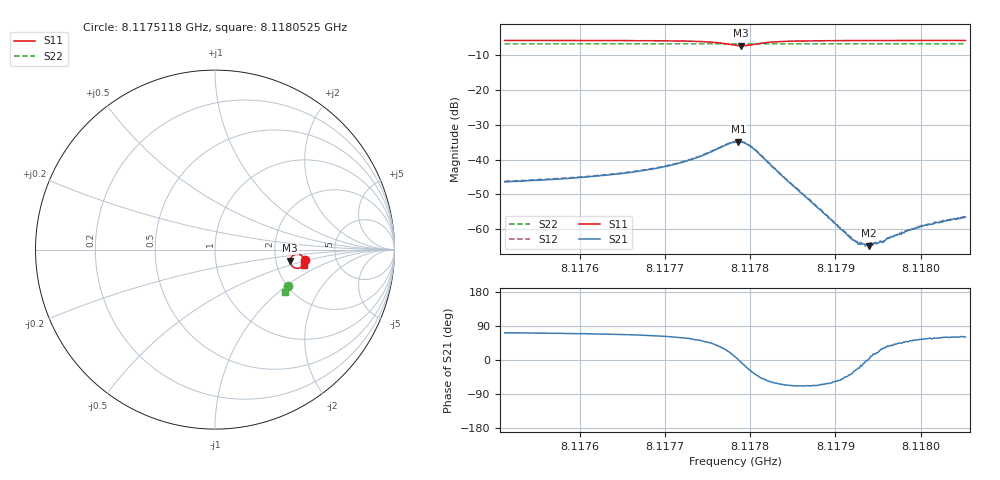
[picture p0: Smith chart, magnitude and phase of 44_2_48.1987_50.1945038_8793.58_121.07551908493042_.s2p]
#  HZ  S  RI  R  50.00
! Rohde & Schwarz Vector Network Analyzer
! Rohde-Schwarz,ZNB20-2Port,1311601062101988,3.16
! Created: UTC 3/20/2024, 11:37:59 AM
! freq[Hz]  re:S11  im:S11  re:S21  im:S21  re:S12  im:S12  re:S22  im:S22
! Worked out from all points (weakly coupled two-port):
!   401 points, 8.1175118 GHz to 8.1180525 GHz, reference 50 ohm
!   highest |S21| = -34.88 dB at 8.1177862 GHz (marker M1); lowest = -64.6 dB at 8.1179389 GHz (marker M2)
!   lowest |S11| = -7.5 dB at 8.1177889 GHz (marker M3), VSWR 2.47, Z = 120 - j18.3 ohm
!   |S11| at or under -10 dB: nowhere
!   |S22| runs from -6.9 to -6.9 dB; largest |S21 - S12| = 0.00054
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8.11751176e9  0.5015 -0.059  0.0015 0.00454  0.00158 0.00463  0.4041 -0.2028
8.11760233e9  0.4993 -0.0692  0.00192 0.00521  0.00201 0.00529  0.4016 -0.2086
8.11764288e9  0.4975 -0.0751  0.00233 0.00572  0.00247 0.00582  0.4002 -0.2114
8.1176929e9  0.4928 -0.0845  0.00343 0.0068  0.00357 0.00692  0.3984 -0.2146
8.11773886e9  0.479 -0.0985  0.00661 0.00876  0.00667 0.00859  0.3962 -0.2179
8.11776589e9  0.4505 -0.1035  0.0126 0.00826  0.0129 0.0084  0.3942 -0.2193
8.11778211e9  0.4226 -0.0821  0.0175 0.00271  0.018 0.00259  0.3928 -0.2189
8.11778617e9  0.4191 -0.0707  0.018 5.18e-05  0.0183 2.91e-05  0.3926 -0.2187
8.11778887e9  0.4187 -0.0625  0.0177 -0.00164  0.018 -0.00177  0.3927 -0.2186
8.11779563e9  0.4251 -0.0429  0.0157 -0.00544  0.016 -0.00587  0.3931 -0.2182
8.11780509e9  0.4448 -0.0277  0.0111 -0.00831  0.0112 -0.00852  0.3936 -0.2182
8.11783078e9  0.4826 -0.0338  0.0034 -0.0061  0.00331 -0.00623  0.3944 -0.2206
8.11787268e9  0.4964 -0.0534  0.000931 -0.00222  0.000942 -0.00228  0.3937 -0.224
8.1179227e9  0.4987 -0.0659  0.000603 -0.000332  0.000602 -0.000325  0.3919 -0.2274
8.11792675e9  0.4987 -0.0665  0.00057 -0.000221  0.000634 -0.000268  0.3916 -0.2277
8.11793486e9  0.4988 -0.068  0.000596 -5.17e-05  0.000574 -5.47e-05  0.3917 -0.2282
8.11793892e9  0.4989 -0.0686  0.000587 2.44e-05  0.00066 2.94e-05  0.3914 -0.2285
8.11794703e9  0.4989 -0.07  0.0006 0.000179  0.000631 0.000177  0.3912 -0.2291
8.11795649e9  0.4989 -0.0715  0.000565 0.000341  0.000594 0.000343  0.3908 -0.2298
8.11796325e9  0.4989 -0.0724  0.000603 0.000461  0.000607 0.000478  0.3906 -0.23
8.11799839e9  0.4986 -0.0771  0.000635 0.00088  0.000663 0.000882  0.3895 -0.2324
8.11805246e9  0.4979 -0.0831  0.000742 0.0013  0.000703 0.00133  0.3876 -0.2358
